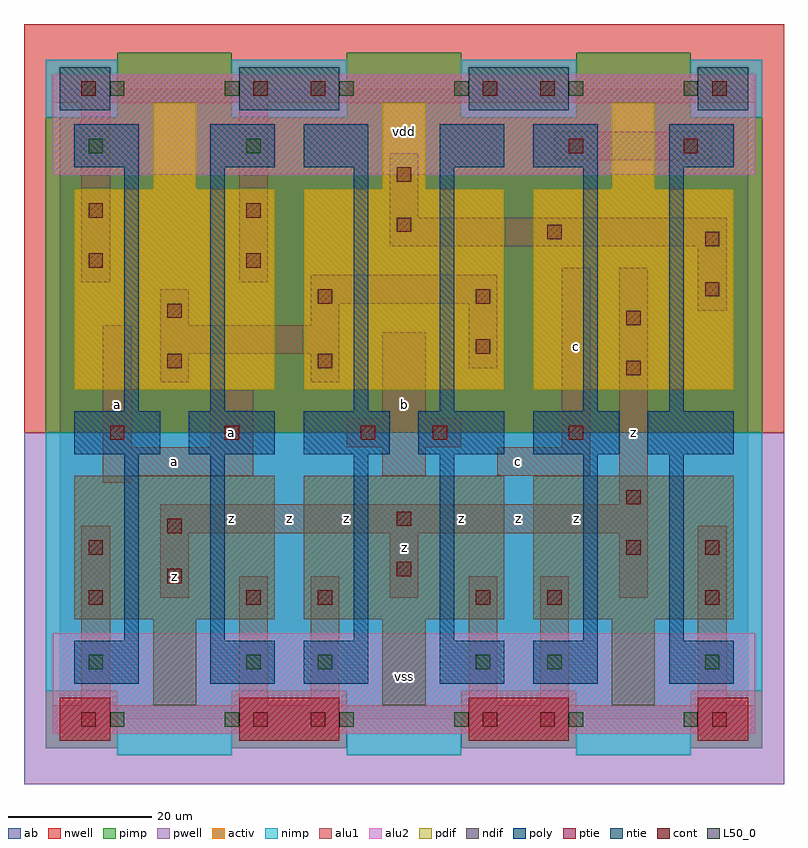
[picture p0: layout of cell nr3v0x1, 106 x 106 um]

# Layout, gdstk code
import gdstk
lib = gdstk.Library(unit=1e-6, precision=1e-09)
def R(c, l, rs):  # rectangles x0, y0, x1, y1
    for r in rs: c.add(gdstk.rectangle(r[:2], r[2:], *l))
def A(c, l, x, y, w, h, nx, ny, dx, dy):  # array of equal rectangles
    R(c, l, [(x+i*dx, y+j*dy, x+i*dx+w, y+j*dy+h) for i in range(nx) for j in range(ny)])
ndif = (3, 0)
pdif = (4, 0)
ntie = (5, 0)
ptie = (6, 0)
cont = (25, 0)
pwell = (41, 0)
nwell = (42, 0)
activ = (43, 0)
pimp = (44, 0)
nimp = (45, 0)
poly = (46, 0)
alu1 = (49, 0)
L50_0 = (50, 0)
alu2 = (51, 0)
ab = (63, 0)

nr3v0x1 = lib.new_cell('nr3v0x1')
A(nr3v0x1, ndif, 13, 2, 6, 12, 3, 1, 32, 0)
A(nr3v0x1, ndif, 2, 14, 28, 20, 3, 1, 32, 0)
A(nr3v0x1, pdif, 2, 46, 28, 28, 3, 1, 32, 0)
A(nr3v0x1, pdif, 13, 74, 6, 12, 3, 1, 32, 0)
R(nr3v0x1, ntie, [(0,85,7,91), (25,85,39,91), (57,85,71,91), (89,85,96,91)])
R(nr3v0x1, ptie, [(0,-3,7,3), (25,-3,39,3), (57,-3,71,3), (89,-3,96,3)])
R(nr3v0x1, cont, [(3,-1,5,1), (27,-1,29,1), (35,-1,37,1), (59,-1,61,1), (67,-1,69,1), (91,-1,93,1), (4,16,6,18), (26,16,28,18), (36,16,38,18), (58,16,60,18), (68,16,70,18), (90,16,92,18), (15,19,17,21), (47,20,49,22), (4,23,6,25), (79,23,81,25), (90,23,92,25), (15,26,17,28), (47,27,49,29), (79,30,81,32), (7,39,9,41), (23,39,25,41), (42,39,44,41), (52,39,54,41), (71,39,73,41), (79,48,81,50), (15,49,17,51), (36,49,38,51), (58,51,60,53), (79,55,81,57), (15,56,17,58), (36,58,38,60), (58,58,60,60), (90,59,92,61), (4,63,6,65), (26,63,28,65), (90,66,92,68), (68,67,70,69), (47,68,49,70), (4,70,6,72), (26,70,28,72), (47,75,49,77), (71,79,73,81), (87,79,89,81), (3,87,5,89), (27,87,29,89), (35,87,37,89), (59,87,61,89), (67,87,69,89), (91,87,93,89)])
R(nr3v0x1, pwell, [(-5,-9,101,40)])
R(nr3v0x1, nwell, [(-5,40,101,97)])
A(nr3v0x1, activ, 13, 2, 6, 12, 3, 2, 32, 72)
A(nr3v0x1, activ, 2, 14, 28, 20, 3, 1, 32, 0)
A(nr3v0x1, activ, 2, 46, 28, 28, 3, 1, 32, 0)
R(nr3v0x1, activ, [(0,-3,7,3), (25,-3,39,3), (57,-3,71,3), (89,-3,96,3), (0,85,7,91), (25,85,39,91), (57,85,71,91), (89,85,96,91)])
A(nr3v0x1, pimp, 8, 84, 16, 9, 3, 1, 32, 0)
R(nr3v0x1, pimp, [(-2,-4,8,4), (24,-4,40,4), (56,-4,72,4), (88,-4,98,4), (-2,40,98,84)])
A(nr3v0x1, nimp, 8, -5, 16, 9, 3, 1, 32, 0)
R(nr3v0x1, nimp, [(-2,4,98,40), (-2,84,8,92), (24,84,40,92), (56,84,72,92), (88,84,98,92)])
A(nr3v0x1, poly, 2, 37, 12, 6, 6, 1, 16, 0)
R(nr3v0x1, poly, [(2,5,11,11), (21,5,30,11), (34,5,43,11), (53,5,62,11), (66,5,75,11), (85,5,94,11), (9,11,11,37), (21,11,23,37), (41,11,43,37), (53,11,55,37), (73,11,75,37), (85,11,87,37), (9,43,11,77), (21,43,23,77), (41,43,43,77), (53,43,55,77), (73,43,75,77), (85,43,87,77), (2,77,11,83), (21,77,30,83), (34,77,43,83), (53,77,62,83), (66,77,75,83), (85,77,94,83)])
A(nr3v0x1, alu1, 14, 17, 4, 9, 3, 1, 32, 0)
R(nr3v0x1, alu1, [(-1,-2,97,2), (3,2,7,27), (25,2,29,20), (35,2,39,20), (57,2,61,20), (67,2,71,20), (89,2,93,27), (14,26,82,30), (78,30,82,63), (6,33,10,34), (6,34,27,38), (45,34,51,38), (61,34,74,38), (6,38,10,55), (21,38,27,46), (40,38,56,42), (70,38,74,63), (45,42,51,54), (14,47,18,51), (35,47,39,51), (57,49,61,58), (14,51,39,55), (14,55,18,60), (35,55,39,58), (89,57,93,66), (35,58,61,62), (3,61,7,86), (25,61,29,86), (46,66,93,70), (46,70,50,79), (69,78,91,82), (-1,86,97,90)])
A(nr3v0x1, L50_0, 7, -1, 2, 2, 6, 2, 16, 88)
R(nr3v0x1, L50_0, [(4,7,6,9), (26,7,28,9), (36,7,38,9), (58,7,60,9), (68,7,70,9), (90,7,92,9), (4,79,6,81), (26,79,28,81)])
R(nr3v0x1, alu2, [(-1,-2,97,12), (-1,76,97,90)])
R(nr3v0x1, ab, [(0,0,96,88)])
nr3v0x1.add(gdstk.Label('z', (16,20), layer=49, texttype=0))
nr3v0x1.add(gdstk.Label('a', (16,36), layer=49, texttype=0))
nr3v0x1.add(gdstk.Label('a', (8,44), layer=49, texttype=0))
nr3v0x1.add(gdstk.Label('z', (24,28), layer=49, texttype=0))
nr3v0x1.add(gdstk.Label('a', (24,40), layer=49, texttype=0))
nr3v0x1.add(gdstk.Label('z', (40,28), layer=49, texttype=0))
nr3v0x1.add(gdstk.Label('z', (32,28), layer=49, texttype=0))
nr3v0x1.add(gdstk.Label('z', (48,24), layer=49, texttype=0))
nr3v0x1.add(gdstk.Label('c', (64,36), layer=49, texttype=0))
nr3v0x1.add(gdstk.Label('z', (64,28), layer=49, texttype=0))
nr3v0x1.add(gdstk.Label('z', (56,28), layer=49, texttype=0))
nr3v0x1.add(gdstk.Label('b', (48,44), layer=49, texttype=0))
nr3v0x1.add(gdstk.Label('z', (72,28), layer=49, texttype=0))
nr3v0x1.add(gdstk.Label('z', (80,40), layer=49, texttype=0))
nr3v0x1.add(gdstk.Label('c', (72,52), layer=49, texttype=0))
nr3v0x1.add(gdstk.Label('vss', (48,6), layer=51, texttype=0))
nr3v0x1.add(gdstk.Label('vdd', (48,82), layer=51, texttype=0))

lib.write_gds('nr3v0x1.gds')
